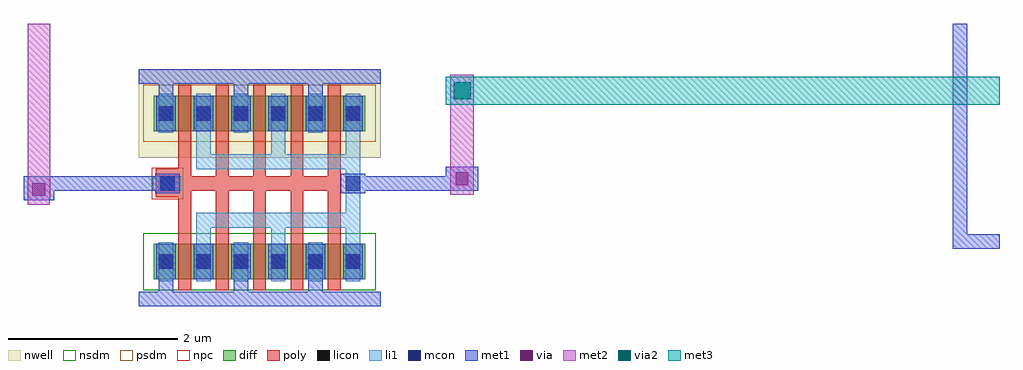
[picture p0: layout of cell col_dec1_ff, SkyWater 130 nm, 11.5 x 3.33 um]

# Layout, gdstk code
import gdstk
lib = gdstk.Library(unit=1e-6, precision=1e-09)
def R(c, l, rs):  # rectangles x0, y0, x1, y1
    for r in rs: c.add(gdstk.rectangle(r[:2], r[2:], *l))
def A(c, l, x, y, w, h, nx, ny, dx, dy):  # array of equal rectangles
    R(c, l, [(x+i*dx, y+j*dy, x+i*dx+w, y+j*dy+h) for i in range(nx) for j in range(ny)])
nwell = (64, 20)
diff = (65, 20)
poly = (66, 20)
licon = (66, 44)
li1 = (67, 20)
mcon = (67, 44)
met1 = (68, 20)
via = (68, 44)
met2 = (69, 20)
via2 = (69, 44)
met3 = (70, 20)
nsdm = (93, 44)
psdm = (94, 20)
npc = (95, 20)

col_dec1_ff = lib.new_cell('col_dec1_ff')
R(col_dec1_ff, nwell, [(1.355,1.75,4.205,2.79)])
R(col_dec1_ff, diff, [(1.535,0.315,4.025,0.735), (1.535,2.06,4.025,2.48)])
A(col_dec1_ff, poly, 2.265, 0.185, 0.15, 1.175, 4, 1, 0.44, 0)
A(col_dec1_ff, poly, 2.265, 1.53, 0.15, 1.08, 4, 1, 0.44, 0)
R(col_dec1_ff, poly, [(1.825,0.185,1.975,1.28), (1.56,1.28,1.975,1.36), (1.56,1.36,3.735,1.53), (1.56,1.53,1.975,1.62), (1.825,1.62,1.975,2.61)])
A(col_dec1_ff, licon, 1.595, 0.44, 0.17, 0.17, 6, 2, 0.44, 1.745)
R(col_dec1_ff, licon, [(1.61,1.36,1.78,1.53)])
A(col_dec1_ff, li1, 1.595, 0.295, 0.17, 0.46, 3, 2, 0.88, 1.745)
A(col_dec1_ff, li1, 2.035, 0.295, 0.17, 0.63, 3, 1, 0.88, 0)
A(col_dec1_ff, li1, 2.035, 1.79, 0.17, 0.71, 3, 1, 0.88, 0)
R(col_dec1_ff, li1, [(2.035,0.925,3.965,1.1), (3.795,1.1,3.965,1.615), (1.525,1.36,1.86,1.53), (2.035,1.615,3.965,1.79)])
A(col_dec1_ff, mcon, 1.595, 0.44, 0.17, 0.17, 6, 2, 0.44, 1.745)
R(col_dec1_ff, mcon, [(1.61,1.36,1.78,1.53), (3.795,1.36,3.965,1.53)])
A(col_dec1_ff, met1, 1.595, 0.17, 0.17, 0.145, 3, 1, 0.88, 0)
A(col_dec1_ff, met1, 1.565, 0.315, 0.23, 0.42, 6, 2, 0.44, 1.745)
A(col_dec1_ff, met1, 1.595, 2.48, 0.17, 0.14, 3, 1, 0.88, 0)
R(col_dec1_ff, met1, [(1.36,0,4.205,0.17), (10.945,0.675,11.495,0.845), (10.945,0.845,11.115,3.325), (0,1.245,0.36,1.36), (1.55,1.33,1.84,1.36), (3.735,1.33,4.025,1.36), (0,1.36,1.84,1.53), (3.735,1.36,5.355,1.53), (1.55,1.53,1.84,1.56), (3.735,1.53,4.025,1.56), (4.975,1.53,5.355,1.64), (1.36,2.62,4.205,2.79)])
R(col_dec1_ff, via, [(0.105,1.3,0.255,1.45), (5.09,1.425,5.24,1.575)])
R(col_dec1_ff, met2, [(0.05,1.195,0.31,1.245), (0.05,1.245,0.315,3.325), (5.025,1.31,5.305,2.725)])
R(col_dec1_ff, via2, [(5.065,2.435,5.265,2.635)])
R(col_dec1_ff, met3, [(4.975,2.37,11.495,2.7)])
R(col_dec1_ff, nsdm, [(1.41,0.19,4.15,0.86)])
R(col_dec1_ff, psdm, [(1.41,1.935,4.15,2.605)])
R(col_dec1_ff, npc, [(1.51,1.26,1.88,1.63)])

lib.write_gds('col_dec1_ff.gds')
